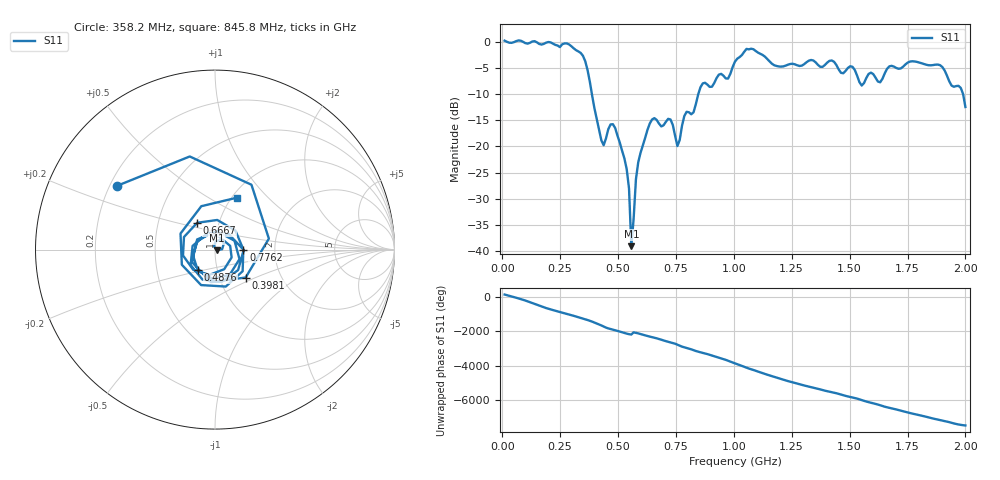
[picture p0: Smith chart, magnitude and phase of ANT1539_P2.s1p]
!Created with skrf (http://scikit-rf.org).
# Hz S RI R 50.0
!freq ReS11 ImS11
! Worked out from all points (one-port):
!   201 points, 10 MHz to 2 GHz, reference 50 ohm
!   lowest |S11| = -39.0 dB at 557.2 MHz (marker M1), VSWR 1.02, Z = 51.1 - j0.349 ohm
!   |S11| at or under -10 dB: 387.1 MHz to 846.4 MHz (459.4 MHz wide, 74.5 % of centre); 1.990127 GHz to end of sweep
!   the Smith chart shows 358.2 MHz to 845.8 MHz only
!   S11 on the Smith chart (normalised r, x): 358.2 MHz: 0.23, +0.28; 398.1 MHz: 1.33, -0.44; 487.6 MHz: 0.80, -0.19; 666.7 MHz: 0.79, +0.24; 776.1 MHz: 1.37, +0.00; 845.8 MHz: 1.05, +0.67
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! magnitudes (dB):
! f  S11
! 10 MHz  0.2
! 258.8 MHz  -0.5
! 358.2 MHz  -3.7
! 398.1 MHz  -12.7
! 437.9 MHz  -19.8
! 467.7 MHz  -15.8
! 487.6 MHz  -16.5
! 507.5 MHz  -19.3
! 547.3 MHz  -28.0
! 557.2 MHz  -39.0
! 577.1 MHz  -26.3
! 587.1 MHz  -23.0
! 636.9 MHz  -15.6
! 666.7 MHz  -14.9
! 726.4 MHz  -14.8
! 756.2 MHz  -19.9
! 776.1 MHz  -16.0
! 845.8 MHz  -10.1
! 975.1 MHz  -7.0
! 1.005 GHz  -3.8
! 1.075 GHz  -1.3
! 1.254 GHz  -4.2
! 1.502 GHz  -4.7
! 1.552 GHz  -8.4
! 1.751 GHz  -4.0
! 1.891 GHz  -4.5
! 1.98 GHz  -8.8
! 2 GHz  -12.5
